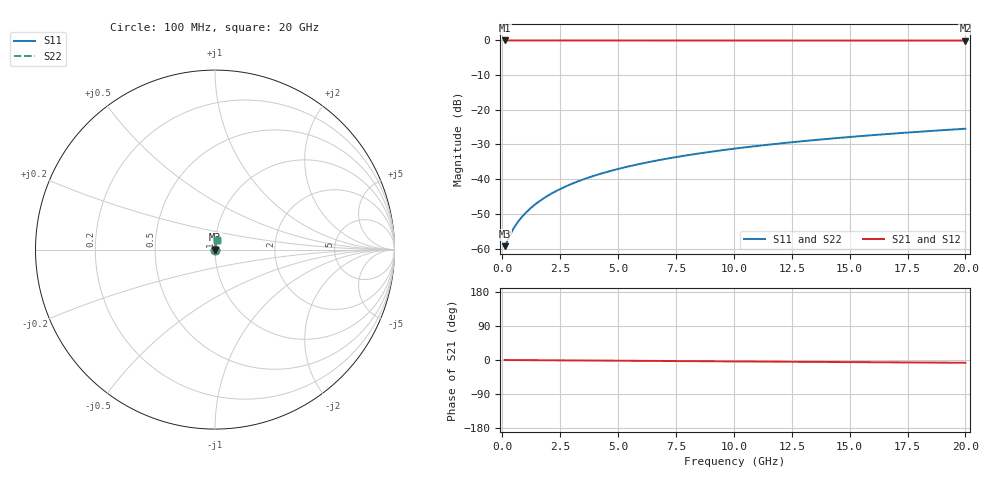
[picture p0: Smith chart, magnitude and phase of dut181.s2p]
! Touchstone file exported from HFSS 2026.1.0
!  File:  C:/ffzhzh/LocalFiles/Ansys_Project_Files/temp_train_TMRDL_181_1782983645_45328.aedt
!  Generated:  05:15:16 PM Jul  2, 2026
!  Design:  TMRDL
!  Project:  temp_train_TMRDL_181_1782983645_45328
! Variables:
!  h_bsmrdl = 2um
!  h_ox = 20um
!  h_rdl = 5um
!  h_sub = 80um
!  h_tmrdl = 2.7um
!  h_tsv = 80um
!  h_via = 3um
!  l_bsmrdl = 300um
!  l_sub = 500.92um
!  l_tmrdl = 100.92um
!  m_sub = 200um
!  pitch = 27.8um
!  r_tsv = 6um
!  s_tmrdl = 10um
!  w_bsmrdl = 18um
!  w_sub = 500um
!  w_tmrdl = 18.1um
!  x_tsv_center1 = 109.97um
!  x_tsv_center2 = 427.97um
!  x_tsv_center3 = 546.99um
!  x_tsv_center4 = 864.99um
!  x_tsv_center5 = 984.01um
!  x_tsv_center6 = 1302.01um
# GHz S MA R 50.000000
! Terminal data exported
! Port[1] = TM_RDL1_1_T1
! Port[2] = TM_RDL1_1_T2
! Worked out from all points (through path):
!   200 points, 100 MHz to 20 GHz, reference 50 ohm
!   highest |S21| = -0.01 dB at 100 MHz (marker M1); lowest = 0.0 dB at 20 GHz (marker M2)
!   group delay of S21, straight-line fit = 1.02 ps
!   lowest |S11| = -59.3 dB at 100 MHz (marker M3), VSWR 1.00, Z = 50.1 + j0.0342 ohm
!   |S11| at or under -10 dB: start of sweep to end of sweep
!   |S22| runs from -59.3 to -25.5 dB; largest |S21 - S12| = 3.7e-15
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0.1  0.001081 18.4  0.999 -0.0  0.999 -0.0  0.001081 18.4
! Gamma 0 0 0 0
! Port Impedance 50 0 50 0
0.2  0.001252 32.5  0.9989 -0.1  0.9989 -0.1  0.001252 32.5
0.4  0.001724 48.6  0.9989 -0.2  0.9989 -0.2  0.001724 48.6
0.6  0.002229 56.8  0.9988 -0.2  0.9988 -0.2  0.002229 56.8
0.7  0.002482 59.6  0.9988 -0.3  0.9988 -0.3  0.002482 59.6
0.9  0.002988 64.0  0.9987 -0.3  0.9987 -0.3  0.002988 64.0
1.1  0.003498 67.3  0.9987 -0.4  0.9987 -0.4  0.003498 67.3
1.3  0.004014 69.8  0.9986 -0.5  0.9986 -0.5  0.004014 69.8
1.8  0.00533 74.1  0.9986 -0.7  0.9986 -0.7  0.00533 74.1
2.3  0.00667 76.6  0.9985 -0.9  0.9985 -0.9  0.00667 76.6
2.9  0.008297 78.6  0.9985 -1.1  0.9985 -1.1  0.008297 78.6
3.5  0.009932 79.8  0.9984 -1.3  0.9984 -1.3  0.009932 79.8
4.2  0.01184 80.7  0.9983 -1.6  0.9983 -1.6  0.01184 80.7
5  0.01403 81.2  0.9982 -1.9  0.9982 -1.9  0.01403 81.2
5.9  0.01648 81.6  0.9981 -2.2  0.9981 -2.2  0.01648 81.6
6.8  0.01892 81.7  0.9979 -2.5  0.9979 -2.5  0.01892 81.7
8.3  0.02295 81.7  0.9976 -3.1  0.9976 -3.1  0.02295 81.7
10.1  0.02775 81.4  0.9973 -3.7  0.9973 -3.7  0.02775 81.4
11.7  0.03196 81.1  0.9969 -4.3  0.9969 -4.3  0.03196 81.1
13.4  0.03641 80.7  0.9966 -5.0  0.9966 -5.0  0.03641 80.7
16.7  0.04493 79.8  0.9958 -6.1  0.9958 -6.1  0.04493 79.8
20  0.05334 78.8  0.995 -7.3  0.995 -7.3  0.05334 78.8
